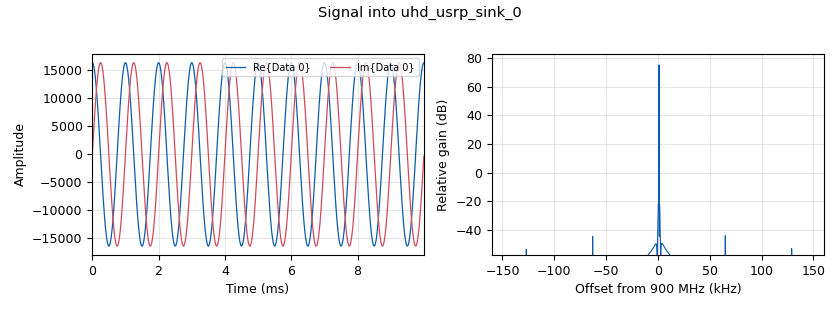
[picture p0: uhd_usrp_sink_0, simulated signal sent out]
<?xml version='1.0' encoding='utf-8'?>
<flow_graph>
<block>
<key>options</key>
<param><key>id</key><value>top_block</value></param>
<param><key>generate_options</key><value>wx_gui</value></param>
<param><key>category</key><value>Custom</value></param>
</block>
<block>
<key>variable</key>
<param><key>id</key><value>samp_rate</value></param>
<param><key>value</key><value>320000</value></param>
</block>
<block>
<key>gr_multiply_const_vxx</key>
<param><key>id</key><value>gr_multiply_const_vxx_0</value></param>
<param><key>type</key><value>complex</value></param>
<param><key>const</key><value>16384</value></param>
<param><key>vlen</key><value>1</value></param>
</block>
<block>
<key>gr_sig_source_x</key>
<param><key>id</key><value>gr_sig_source_x_0</value></param>
<param><key>type</key><value>complex</value></param>
<param><key>samp_rate</key><value>samp_rate</value></param>
<param><key>waveform</key><value>gr.GR_SIN_WAVE</value></param>
<param><key>freq</key><value>1000</value></param>
<param><key>amp</key><value>1</value></param>
<param><key>offset</key><value>0</value></param>
</block>
<block>
<key>uhd_usrp_sink</key>
<param><key>id</key><value>uhd_usrp_sink_0</value></param>
<param><key>type</key><value>fc32</value></param>
<param><key>dev_addr</key><value></value></param>
<param><key>sync</key><value></value></param>
<param><key>clock_rate</key><value>0.0</value></param>
<param><key>samp_rate</key><value>samp_rate</value></param>
<param><key>center_freq0</key><value>900000000</value></param>
<param><key>gain0</key><value>30</value></param>
<param><key>ant0</key><value></value></param>
</block>
<connection><source_block_id>gr_sig_source_x_0</source_block_id><sink_block_id>gr_multiply_const_vxx_0</sink_block_id><source_key>0</source_key><sink_key>0</sink_key></connection>
<connection><source_block_id>gr_multiply_const_vxx_0</source_block_id><sink_block_id>uhd_usrp_sink_0</sink_block_id><source_key>0</source_key><sink_key>0</sink_key></connection>
</flow_graph>
